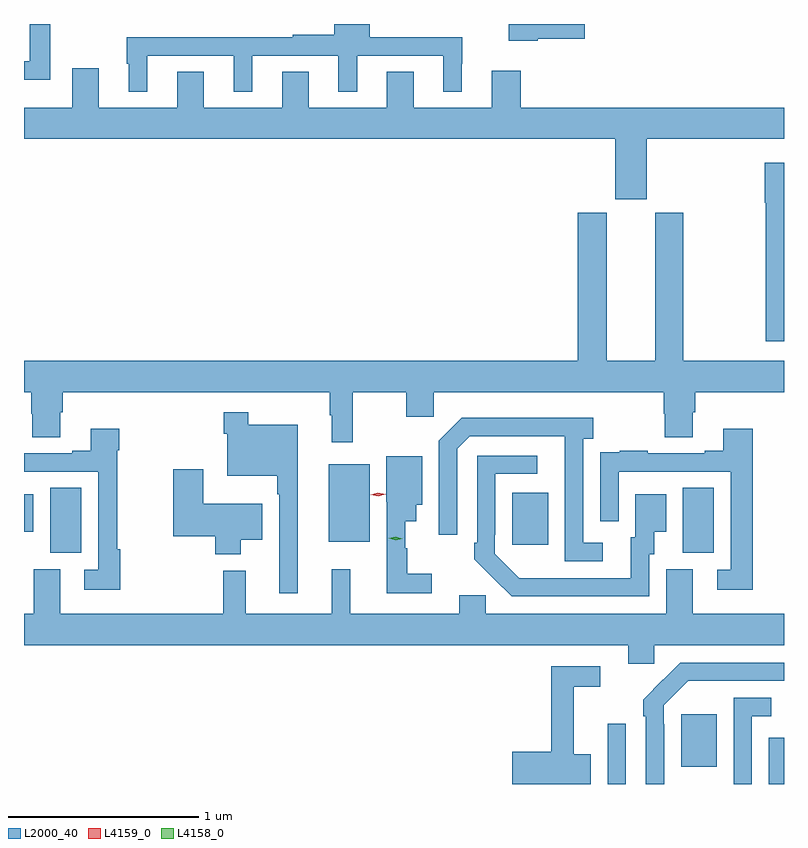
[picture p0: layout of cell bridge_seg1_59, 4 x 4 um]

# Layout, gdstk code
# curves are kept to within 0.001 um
import gdstk
lib = gdstk.Library(unit=1e-6, precision=1e-09)
def R(c, l, rs):  # rectangles x0, y0, x1, y1
    for r in rs: c.add(gdstk.rectangle(r[:2], r[2:], *l))
def P(c, l, *ps):  # polygons
    for p in ps: c.add(gdstk.Polygon(p, *l))
L2000_40 = (2000, 40)
L4158_0 = (4158, 0)
L4159_0 = (4159, 0)

bridge_seg1_59 = lib.new_cell('bridge_seg1_59')
R(bridge_seg1_59, L2000_40, [(424.485,560.325,424.581,560.641), (425.334,560.325,425.413,560.569), (424.871,560.417,425.059,560.692), (421.55,561.541,421.714,561.884), (424.88,561.541,425.044,561.884), (423.983,561.585,424.171,561.859), (423.017,561.599,423.232,562.009), (421.413,561.653,421.462,561.85)])
P(bridge_seg1_59, L2000_40, [(422.062,564.159),(422.516,564.159),(422.516,563.969),(422.614,563.969),(422.614,564.159),(423.068,564.159),(423.068,563.969),(423.166,563.969),(423.166,564.159),(423.62,564.159),(423.62,563.969),(423.718,563.969),(423.718,564.116),(423.72,564.116),(423.72,564.255),(423.232,564.255),(423.232,564.325),(423.047,564.325),(423.047,564.268),(422.827,564.268),(422.827,564.255),(421.953,564.255),(421.953,564.116),(421.964,564.116),(421.964,563.969),(422.062,563.969)],
  [(424.116,564.247),(424.363,564.247),(424.363,564.325),(423.965,564.325),(423.965,564.236),(424.116,564.236)],
  [(421.552,564.325),(421.443,564.325),(421.443,564.129),(421.413,564.129),(421.413,564.032),(421.552,564.032)],
  [(422.771,564.074),(422.771,563.884),(422.359,563.884),(422.359,564.074),(422.219,564.074),(422.219,563.884),(421.807,563.884),(421.807,564.091),(421.667,564.091),(421.667,563.884),(421.413,563.884),(421.413,563.72),(424.526,563.72),(424.526,563.403),(424.69,563.403),(424.69,563.72),(425.413,563.72),(425.413,563.884),(424.028,563.884),(424.028,564.079),(423.875,564.079),(423.875,563.884),(423.463,563.884),(423.463,564.074),(423.323,564.074),(423.323,563.884),(422.911,563.884),(422.911,564.074)],
  [(425.413,563.596),(425.312,563.596),(425.312,563.383),(425.317,563.383),(425.317,562.656),(425.413,562.656)],
  [(424.736,562.552),(424.48,562.552),(424.48,563.331),(424.328,563.331),(424.328,562.552),(421.413,562.552),(421.413,562.388),(421.451,562.388),(421.451,562.275),(421.456,562.275),(421.456,562.15),(421.603,562.15),(421.603,562.282),(421.616,562.282),(421.616,562.388),(423.021,562.388),(423.021,562.265),(423.032,562.265),(423.032,562.125),(423.142,562.125),(423.142,562.388),(423.424,562.388),(423.424,562.257),(423.57,562.257),(423.57,562.388),(424.781,562.388),(424.781,562.275),(424.786,562.275),(424.786,562.15),(424.933,562.15),(424.933,562.282),(424.946,562.282),(424.946,562.388),(425.413,562.388),(425.413,562.552),(424.884,562.552),(424.884,563.331),(424.736,563.331)],
  [(422.854,562.216),(422.593,562.216),(422.593,562.282),(422.464,562.282),(422.464,562.169),(422.484,562.169),(422.484,561.947),(422.745,561.947),(422.745,561.851),(422.757,561.851),(422.757,561.33),(422.854,561.33)],
  [(424.459,561.594),(424.356,561.594),(424.356,562.142),(424.408,562.142),(424.408,562.252),(423.718,562.252),(423.597,562.131),(423.597,561.636),(423.693,561.636),(423.693,562.089),(423.759,562.155),(424.259,562.155),(424.26,561.498),(424.459,561.498)],
  [(425.249,562.195),(425.093,562.195),(425.093,562.078),(424.997,562.078),(424.997,562.065),(424.697,562.065),(424.697,562.078),(424.549,562.078),(424.549,562.071),(424.447,562.071),(424.447,561.962),(424.446,561.962),(424.446,561.708),(424.542,561.708),(424.542,561.969),(425.133,561.969),(425.133,561.453),(425.061,561.453),(425.061,561.348),(425.249,561.348)],
  [(421.919,561.56),(421.904,561.56),(421.904,562.082),(421.913,562.082),(421.913,562.195),(421.763,562.195),(421.763,562.078),(421.667,562.078),(421.667,562.065),(421.413,562.065),(421.413,561.969),(421.803,561.969),(421.803,561.453),(421.731,561.453),(421.731,561.348),(421.919,561.348)],
  [(424.704,561.534),(424.729,561.534),(424.729,561.653),(424.792,561.653),(424.792,561.85),(424.631,561.85),(424.631,561.624),(424.607,561.624),(424.607,561.408),(424.02,561.409),(423.891,561.537),(423.891,561.637),(423.894,561.637),(423.894,561.957),(424.114,561.957),(424.114,562.053),(423.798,562.053),(423.798,561.595),(423.783,561.595),(423.783,561.507),(423.98,561.312),(424.704,561.312)],
  [(423.559,561.431),(423.43,561.431),(423.43,561.567),(423.419,561.567),(423.419,561.707),(423.478,561.707),(423.478,561.794),(423.508,561.794),(423.508,562.051),(423.32,562.051),(423.32,561.811),(423.321,561.811),(423.321,561.33),(423.559,561.33)],
  [(422.554,561.611),(422.668,561.611),(422.668,561.799),(422.356,561.799),(422.356,561.982),(422.198,561.982),(422.198,561.629),(422.42,561.629),(422.42,561.533),(422.554,561.533)],
  [(424.731,561.056),(425.413,561.056),(425.413,561.22),(424.933,561.22),(424.933,561.456),(424.793,561.456),(424.793,561.22),(423.843,561.22),(423.843,561.318),(423.704,561.318),(423.704,561.22),(423.131,561.22),(423.131,561.454),(423.032,561.454),(423.032,561.22),(422.579,561.22),(422.579,561.448),(422.461,561.448),(422.461,561.22),(421.603,561.22),(421.603,561.456),(421.463,561.456),(421.463,561.22),(421.413,561.22),(421.413,561.056),(424.592,561.056),(424.592,560.958),(424.731,560.958)],
  [(424.782,560.639),(424.779,560.639),(424.779,560.739),(424.908,560.868),(425.413,560.868),(425.413,560.964),(424.868,560.964),(424.671,560.769),(424.671,560.681),(424.686,560.681),(424.686,560.325),(424.782,560.325)],
  [(424.396,560.482),(424.307,560.482),(424.307,560.838),(424.447,560.838),(424.447,560.946),(424.189,560.946),(424.189,560.495),(423.984,560.495),(423.984,560.325),(424.396,560.325)],
  [(425.244,560.682),(425.347,560.682),(425.347,560.778),(425.148,560.778),(425.148,560.325),(425.244,560.325)])
P(bridge_seg1_59, L4158_0, [(423.369,561.607),(423.334,561.618),(423.334,561.618),(423.334,561.618),(423.369,561.627),(423.404,561.617),(423.404,561.617),(423.404,561.617)])
P(bridge_seg1_59, L4159_0, [(423.277,561.839),(423.237,561.848),(423.237,561.848),(423.237,561.848),(423.276,561.859),(423.316,561.85),(423.316,561.849),(423.316,561.849)])

lib.write_gds('bridge_seg1_59.gds')
